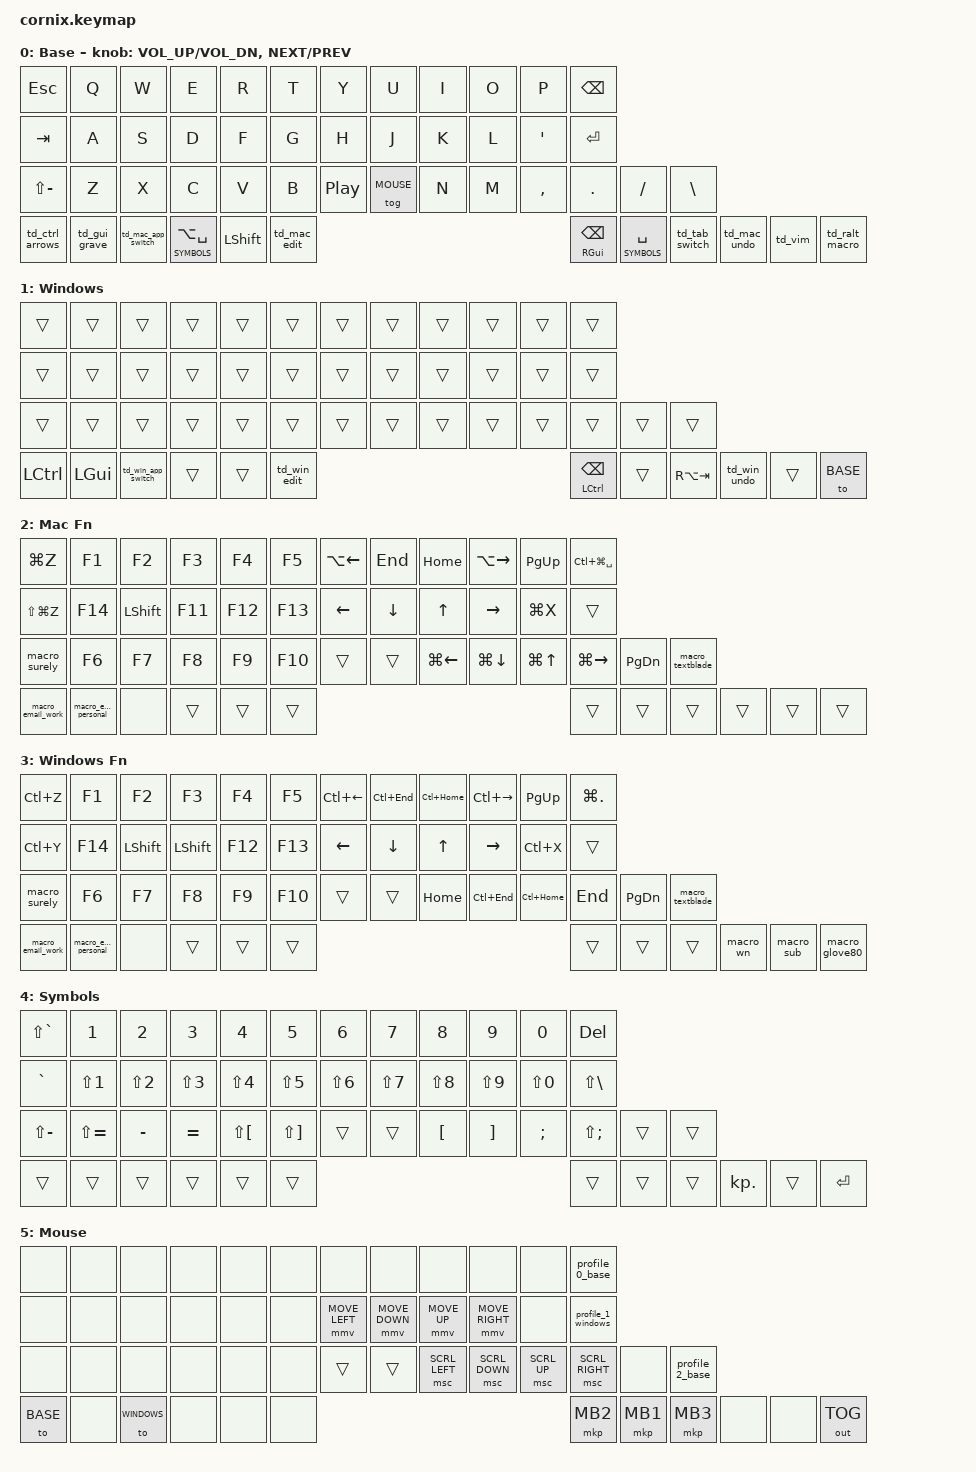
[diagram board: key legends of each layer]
/*
 * Converted from cornix20260713.vil for hitsmaxft/zmk-keyboard-cornix.
 *
 * Conversion goals:
 * - Preserve the six Vial layers that are actually reachable/useful.
 * - Preserve tap/hold/double-tap/tap-hold behaviors using native ZMK
 *   hold-tap + tap-dance composition.
 * - Preserve the Vial-derived combos using Cornix physical key positions.
 * - Preserve the two encoder functions from Vial layer 0.
 * - Preserve non-sensitive Vial macros.
 *
 * Deliberate differences:
 * - The credential-like Vial macro M7 is NOT copied into firmware.
 * - QMK KC_ACL0/KC_ACL1 have no direct ZMK keycode equivalent here;
 *   those two utility-layer positions are left as &none.
 * - Vial DF(0)/DF(1) are mapped to &to BASE / &to WINDOWS. This changes
 *   the active base mode but does not persist it across a reboot.
 * - Vial layers 6-9 are omitted because the saved keymap has no path to
 *   activate them; they only contained mostly-empty bindings/encoder data.
 */

#include <behaviors.dtsi>
#include <dt-bindings/zmk/bt.h>
#include <dt-bindings/zmk/keys.h>
#include <dt-bindings/zmk/outputs.h>
#include <dt-bindings/zmk/pointing.h>

#define BASE       0
#define WINDOWS    1
#define FN_MAC     2
#define FN_WIN     3
#define SYMBOLS    4
#define MOUSE      5

#define VIAL_TAPPING_TERM 250
#define COMBO_TERM 50
#define MOD_COMBO_PRIOR_IDLE 100

/ {
    macros {
        macro_wn: macro_wn {
            compatible = "zmk,behavior-macro";
            #binding-cells = <0>;
            bindings = <&kp COLON &kp W &kp N &kp ENTER>;
        };

        macro_hold_rgui: macro_hold_rgui {
            compatible = "zmk,behavior-macro";
            #binding-cells = <0>;
            bindings
                = <&macro_press &kp RGUI>
                , <&macro_pause_for_release>
                , <&macro_release &kp RGUI>
                ;
        };

        profile_0_base: profile_0_base {
            compatible = "zmk,behavior-macro";
            #binding-cells = <0>;
            bindings = <&out OUT_BLE>, <&bt BT_SEL 0>, <&to BASE>;
        };

        profile_1_windows: profile_1_windows {
            compatible = "zmk,behavior-macro";
            #binding-cells = <0>;
            bindings = <&out OUT_BLE>, <&bt BT_SEL 1>, <&to WINDOWS>;
        };

        profile_2_base: profile_2_base {
            compatible = "zmk,behavior-macro";
            #binding-cells = <0>;
            bindings = <&out OUT_BLE>, <&bt BT_SEL 2>, <&to BASE>;
        };

        macro_sub: macro_sub {
            compatible = "zmk,behavior-macro";
            #binding-cells = <0>;
            bindings = <&kp COLON &kp PRCNT &kp S &kp ENTER>;
        };

        macro_glove80: macro_glove80 {
            compatible = "zmk,behavior-macro";
            #binding-cells = <0>;
            bindings = <
                &kp LS(T) &kp Y &kp P &kp E &kp D &kp SPACE
                &kp O &kp N &kp SPACE &kp A &kp SPACE
                &kp LS(G) &kp L &kp O &kp V &kp E &kp N8 &kp N0
            >;
        };

        macro_textblade: macro_textblade {
            compatible = "zmk,behavior-macro";
            #binding-cells = <0>;
            bindings = <
                &kp LS(T) &kp Y &kp P &kp E &kp D &kp SPACE
                &kp O &kp N &kp SPACE &kp A &kp SPACE
                &kp LS(T) &kp E &kp X &kp T &kp LS(B) &kp L &kp A &kp D &kp E &kp EXCL
            >;
        };

        macro_surely: macro_surely {
            compatible = "zmk,behavior-macro";
            #binding-cells = <0>;
            bindings = <&kp S &kp H &kp T &kp U &kp O &kp I>;
        };

        macro_email_work: macro_email_work {
            compatible = "zmk,behavior-macro";
            #binding-cells = <0>;
            bindings = <
                &kp T &kp A &kp Y &kp L &kp O &kp R &kp AT
                &kp M &kp S &kp O &kp E &kp DOT &kp E &kp D &kp U
            >;
        };

        macro_email_personal: macro_email_personal {
            compatible = "zmk,behavior-macro";
            #binding-cells = <0>;
            bindings = <
                &kp C &kp H &kp R &kp I &kp S &kp AT
                &kp T &kp A &kp Y &kp L &kp O &kp R &kp I &kp A &kp L
                &kp DOT &kp C &kp O &kp M
            >;
        };
    };

    behaviors {
        vmt: vial_mod_tap {
            compatible = "zmk,behavior-hold-tap";
            #binding-cells = <2>;
            flavor = "hold-preferred";
            tapping-term-ms = <VIAL_TAPPING_TERM>;
            bindings = <&kp>, <&kp>;
        };

        vlt: vial_layer_tap {
            compatible = "zmk,behavior-hold-tap";
            #binding-cells = <2>;
            flavor = "hold-preferred";
            tapping-term-ms = <VIAL_TAPPING_TERM>;
            bindings = <&mo>, <&kp>;
        };

        vkp: vial_key_hold_tap {
            compatible = "zmk,behavior-hold-tap";
            #binding-cells = <2>;
            flavor = "hold-preferred";
            tapping-term-ms = <VIAL_TAPPING_TERM>;
            bindings = <&kp>, <&kp>;
        };

        edit_mt: edit_mod_tap {
            compatible = "zmk,behavior-hold-tap";
            #binding-cells = <2>;
            flavor = "hold-preferred";
            tapping-term-ms = <VIAL_TAPPING_TERM>;
            hold-while-undecided;
            hold-while-undecided-linger;
            bindings = <&kp>, <&kp>;
        };

        td_vim_single: td_vim_single {
            compatible = "zmk,behavior-hold-tap";
            #binding-cells = <2>;
            flavor = "hold-preferred";
            tapping-term-ms = <VIAL_TAPPING_TERM>;
            bindings = <&macro_hold_rgui>, <&macro_wn>;
        };

        td_ralt_second: td_ralt_second {
            compatible = "zmk,behavior-hold-tap";
            #binding-cells = <2>;
            flavor = "hold-preferred";
            tapping-term-ms = <VIAL_TAPPING_TERM>;
            bindings = <&macro_surely>, <&none>;
        };

        td_ctrl_arrows: tap_dance_ctrl_arrows {
            compatible = "zmk,behavior-tap-dance";
            #binding-cells = <0>;
            tapping-term-ms = <VIAL_TAPPING_TERM>;
            bindings = <&vmt LCTRL LC(RIGHT)>, <&kp LC(LEFT)>;
        };

        td_gui_grave: tap_dance_gui_grave {
            compatible = "zmk,behavior-tap-dance";
            #binding-cells = <0>;
            tapping-term-ms = <VIAL_TAPPING_TERM>;
            bindings = <&vmt LGUI LG(GRAVE)>, <&kp LS(LG(GRAVE))>;
        };

        td_mac_app_switch: tap_dance_mac_app_switch {
            compatible = "zmk,behavior-tap-dance";
            #binding-cells = <0>;
            tapping-term-ms = <VIAL_TAPPING_TERM>;
            /* tap=Cmd+Tab, hold=left Cmd, double-tap=Shift+Cmd+Tab */
            bindings = <&vmt LGUI LG(TAB)>, <&kp LS(LG(TAB))>;
        };

        td_win_app_switch: tap_dance_win_app_switch {
            compatible = "zmk,behavior-tap-dance";
            #binding-cells = <0>;
            tapping-term-ms = <VIAL_TAPPING_TERM>;
            /* tap=Ctrl+Tab, hold=left Ctrl, double-tap=Shift+Ctrl+Tab */
            bindings = <&vmt LCTRL LC(TAB)>, <&kp LS(LC(TAB))>;
        };

        td_mac_edit: tap_dance_mac_edit {
            compatible = "zmk,behavior-tap-dance";
            #binding-cells = <0>;
            tapping-term-ms = <VIAL_TAPPING_TERM>;
            /* tap=paste, hold=left Cmd, double-tap=copy, tap+hold=cut */
            bindings = <&edit_mt LGUI LG(V)>, <&vkp LG(X) LG(C)>;
        };

        td_win_edit: tap_dance_win_edit {
            compatible = "zmk,behavior-tap-dance";
            #binding-cells = <0>;
            tapping-term-ms = <VIAL_TAPPING_TERM>;
            /* tap=paste, hold=Ctrl, double-tap=copy, tap+hold=cut */
            bindings = <&edit_mt LCTRL LC(V)>, <&vkp LC(X) LC(C)>;
        };

        td_tab_switch: tap_dance_tab_switch {
            compatible = "zmk,behavior-tap-dance";
            #binding-cells = <0>;
            tapping-term-ms = <VIAL_TAPPING_TERM>;
            bindings = <&vlt FN_MAC LC(TAB)>, <&kp LC(LS(TAB))>;
        };

        td_mac_undo: tap_dance_mac_undo {
            compatible = "zmk,behavior-tap-dance";
            #binding-cells = <0>;
            tapping-term-ms = <VIAL_TAPPING_TERM>;
            /* tap=Cmd+Z, hold=right Cmd, double-tap=Shift+Cmd+Z */
            bindings = <&vmt RGUI LG(Z)>, <&kp LS(LG(Z))>;
        };

        td_win_undo: tap_dance_win_undo {
            compatible = "zmk,behavior-tap-dance";
            #binding-cells = <0>;
            tapping-term-ms = <VIAL_TAPPING_TERM>;
            /* tap=Ctrl+Z, hold=right Ctrl, double-tap=Shift+Ctrl+Z */
            bindings = <&vmt RCTRL LC(Z)>, <&kp LS(LC(Z))>;
        };

        td_vim: tap_dance_vim {
            compatible = "zmk,behavior-tap-dance";
            #binding-cells = <0>;
            tapping-term-ms = <VIAL_TAPPING_TERM>;
            bindings = <&td_vim_single 0 0>, <&macro_sub>;
        };

        td_ralt_macro: tap_dance_ralt_macro {
            compatible = "zmk,behavior-tap-dance";
            #binding-cells = <0>;
            tapping-term-ms = <VIAL_TAPPING_TERM>;
            /* tap=Shift+GUI+C, hold=RALT, double-tap=none, tap+hold=macro_surely */
            bindings = <&vmt RALT LS(LG(C))>, <&td_ralt_second 0 0>;
        };

    };

    combos {
        compatible = "zmk,combos";

        combo_df_fnmac {
            timeout-ms = <COMBO_TERM>;
            key-positions = <16 15>;
            layers = <BASE>;
            bindings = <&mo FN_MAC>;
        };

        combo_df_fnwin {
            timeout-ms = <COMBO_TERM>;
            key-positions = <16 15>;
            layers = <WINDOWS>;
            bindings = <&mo FN_WIN>;
        };

        combo_fg_mouse {
            timeout-ms = <COMBO_TERM>;
            key-positions = <16 17>;
            layers = <BASE WINDOWS SYMBOLS>;
            bindings = <&mo MOUSE>;
        };

        combo_jk_fnmac {
            timeout-ms = <COMBO_TERM>;
            key-positions = <19 20>;
            layers = <BASE>;
            bindings = <&mo FN_MAC>;
        };

        combo_jk_fnwin {
            timeout-ms = <COMBO_TERM>;
            key-positions = <19 20>;
            layers = <WINDOWS>;
            bindings = <&mo FN_WIN>;
        };

        combo_kl_symbols {
            timeout-ms = <COMBO_TERM>;
            key-positions = <20 21>;
            layers = <BASE WINDOWS SYMBOLS>;
            bindings = <&tog SYMBOLS>;
        };

        /* Bottom-row modifier combos: Mac behavior on Base, Windows behavior on Windows. */

        combo_cv_cmd_mac {
            timeout-ms = <COMBO_TERM>;
            require-prior-idle-ms = <MOD_COMBO_PRIOR_IDLE>;
            key-positions = <27 28>;
            layers = <BASE>;
            bindings = <&kp LGUI>;
        };

        combo_cv_ctrl_win {
            timeout-ms = <COMBO_TERM>;
            require-prior-idle-ms = <MOD_COMBO_PRIOR_IDLE>;
            key-positions = <27 28>;
            layers = <WINDOWS>;
            bindings = <&kp LCTRL>;
        };

        combo_mcomma_cmd_mac {
            timeout-ms = <COMBO_TERM>;
            require-prior-idle-ms = <MOD_COMBO_PRIOR_IDLE>;
            key-positions = <33 34>;
            layers = <BASE>;
            bindings = <&kp RGUI>;
        };

        combo_mcomma_ctrl_win {
            timeout-ms = <COMBO_TERM>;
            require-prior-idle-ms = <MOD_COMBO_PRIOR_IDLE>;
            key-positions = <33 34>;
            layers = <WINDOWS>;
            bindings = <&kp RCTRL>;
        };

        combo_xc_alt {
            timeout-ms = <COMBO_TERM>;
            require-prior-idle-ms = <MOD_COMBO_PRIOR_IDLE>;
            key-positions = <26 27>;
            layers = <BASE WINDOWS>;
            bindings = <&kp LALT>;
        };

        combo_commadot_alt {
            timeout-ms = <COMBO_TERM>;
            require-prior-idle-ms = <MOD_COMBO_PRIOR_IDLE>;
            key-positions = <34 35>;
            layers = <BASE WINDOWS>;
            bindings = <&kp RALT>;
        };

        combo_zx_ctrl_mac {
            timeout-ms = <COMBO_TERM>;
            require-prior-idle-ms = <MOD_COMBO_PRIOR_IDLE>;
            key-positions = <25 26>;
            layers = <BASE>;
            bindings = <&kp LCTRL>;
        };

        combo_zx_win_win {
            timeout-ms = <COMBO_TERM>;
            require-prior-idle-ms = <MOD_COMBO_PRIOR_IDLE>;
            key-positions = <25 26>;
            layers = <WINDOWS>;
            bindings = <&kp LGUI>;
        };

        combo_dotslash_ctrl_mac {
            timeout-ms = <COMBO_TERM>;
            require-prior-idle-ms = <MOD_COMBO_PRIOR_IDLE>;
            key-positions = <35 36>;
            layers = <BASE>;
            bindings = <&kp RCTRL>;
        };

        combo_dotslash_win_win {
            timeout-ms = <COMBO_TERM>;
            require-prior-idle-ms = <MOD_COMBO_PRIOR_IDLE>;
            key-positions = <35 36>;
            layers = <WINDOWS>;
            bindings = <&kp RGUI>;
        };

        combo_xcv_cmd_alt_mac {
            timeout-ms = <COMBO_TERM>;
            require-prior-idle-ms = <MOD_COMBO_PRIOR_IDLE>;
            key-positions = <26 27 28>;
            layers = <BASE>;
            bindings = <&kp LG(LALT)>;
        };

        combo_xcv_ctrl_alt_win {
            timeout-ms = <COMBO_TERM>;
            require-prior-idle-ms = <MOD_COMBO_PRIOR_IDLE>;
            key-positions = <26 27 28>;
            layers = <WINDOWS>;
            bindings = <&kp LC(LALT)>;
        };

        combo_mcommadot_cmd_alt_mac {
            timeout-ms = <COMBO_TERM>;
            require-prior-idle-ms = <MOD_COMBO_PRIOR_IDLE>;
            key-positions = <33 34 35>;
            layers = <BASE>;
            bindings = <&kp RG(RALT)>;
        };

        combo_mcommadot_ctrl_alt_win {
            timeout-ms = <COMBO_TERM>;
            require-prior-idle-ms = <MOD_COMBO_PRIOR_IDLE>;
            key-positions = <33 34 35>;
            layers = <WINDOWS>;
            bindings = <&kp RC(RALT)>;
        };

        combo_zv_cmd_ctrl {
            timeout-ms = <COMBO_TERM>;
            require-prior-idle-ms = <MOD_COMBO_PRIOR_IDLE>;
            key-positions = <25 28>;
            layers = <BASE WINDOWS>;
            bindings = <&kp LG(LCTRL)>;
        };

        combo_mslash_cmd_ctrl {
            timeout-ms = <COMBO_TERM>;
            require-prior-idle-ms = <MOD_COMBO_PRIOR_IDLE>;
            key-positions = <33 36>;
            layers = <BASE WINDOWS>;
            bindings = <&kp RG(RCTRL)>;
        };

        combo_zxcv_ctrl_alt_cmd {
            timeout-ms = <COMBO_TERM>;
            require-prior-idle-ms = <MOD_COMBO_PRIOR_IDLE>;
            key-positions = <25 26 27 28>;
            layers = <BASE WINDOWS>;
            bindings = <&kp LC(LA(LGUI))>;
        };

        combo_mcds_ctrl_alt_cmd {
            timeout-ms = <COMBO_TERM>;
            require-prior-idle-ms = <MOD_COMBO_PRIOR_IDLE>;
            key-positions = <33 34 35 36>;
            layers = <BASE WINDOWS>;
            bindings = <&kp RC(RA(RGUI))>;
        };

        combo_zxc_ctrl_alt_mac {
            timeout-ms = <COMBO_TERM>;
            require-prior-idle-ms = <MOD_COMBO_PRIOR_IDLE>;
            key-positions = <25 26 27>;
            layers = <BASE>;
            bindings = <&kp LA(LCTRL)>;
        };

        combo_zxc_win_alt_win {
            timeout-ms = <COMBO_TERM>;
            require-prior-idle-ms = <MOD_COMBO_PRIOR_IDLE>;
            key-positions = <25 26 27>;
            layers = <WINDOWS>;
            bindings = <&kp LG(LALT)>;
        };

        combo_cds_ctrl_alt_mac {
            timeout-ms = <COMBO_TERM>;
            require-prior-idle-ms = <MOD_COMBO_PRIOR_IDLE>;
            key-positions = <34 35 36>;
            layers = <BASE>;
            bindings = <&kp RA(RCTRL)>;
        };

        combo_cds_win_alt_win {
            timeout-ms = <COMBO_TERM>;
            require-prior-idle-ms = <MOD_COMBO_PRIOR_IDLE>;
            key-positions = <34 35 36>;
            layers = <WINDOWS>;
            bindings = <&kp RG(RALT)>;
        };
    };

    keymap {
        compatible = "zmk,keymap";

        base_layer {
            display-name = "Base";
            bindings = <
                &kp ESC  &kp Q  &kp W  &kp E  &kp R  &kp T  &kp Y  &kp U  &kp I  &kp O  &kp P  &kp BSPC
                &kp TAB  &kp A  &kp S  &kp D  &kp F  &kp G  &kp H  &kp J  &kp K  &kp L  &kp SQT  &kp ENTER
                &kp LS(MINUS)  &kp Z  &kp X  &kp C  &kp V  &kp B  &kp C_PLAY_PAUSE  &tog MOUSE  &kp N  &kp M  &kp COMMA  &kp DOT  &kp FSLH  &kp BSLH
                &td_ctrl_arrows  &td_gui_grave  &td_mac_app_switch  &vlt SYMBOLS LA(SPACE)  &kp LSHIFT  &td_mac_edit  &vmt RGUI BSPC  &vlt SYMBOLS SPACE  &td_tab_switch  &td_mac_undo  &td_vim  &td_ralt_macro
            >;
            sensor-bindings = <&inc_dec_kp C_VOL_UP C_VOL_DN &inc_dec_kp C_NEXT C_PREV>;
        };

        windows_layer {
            display-name = "Windows";
            /*
             * Windows is an overlay on Base. Only bindings that differ from
             * Base are specified here; everything else falls through.
             */
            bindings = <
                &trans  &trans  &trans  &trans  &trans  &trans  &trans  &trans  &trans  &trans  &trans  &trans
                &trans  &trans  &trans  &trans  &trans  &trans  &trans  &trans  &trans  &trans  &trans  &trans
                &trans  &trans  &trans  &trans  &trans  &trans  &trans  &trans  &trans  &trans  &trans  &trans  &trans  &trans
                &kp LCTRL  &kp LGUI  &td_win_app_switch  &trans  &trans  &td_win_edit  &vmt LCTRL BSPC  &trans  &kp RA(TAB)  &td_win_undo  &trans  &to BASE
            >;
        };

        mac_fn_layer {
            display-name = "Mac Fn";
            bindings = <
                &kp LG(Z)  &kp F1  &kp F2  &kp F3  &kp F4  &kp F5  &kp LA(LEFT)  &kp END  &kp HOME  &kp LA(RIGHT)  &kp PG_UP  &kp LC(LG(SPACE))
                &kp LS(LG(Z))  &kp F14  &kp LSHIFT  &kp F11  &kp F12  &kp F13  &kp LEFT  &kp DOWN  &kp UP  &kp RIGHT  &kp LG(X)  &trans
                &macro_surely  &kp F6  &kp F7  &kp F8  &kp F9  &kp F10  &trans  &trans  &kp LG(LEFT)  &kp LG(DOWN)  &kp LG(UP)  &kp LG(RIGHT)  &kp PG_DN  &macro_textblade
                &macro_email_work  &macro_email_personal  &none  &trans  &trans  &trans  &trans  &trans  &trans  &trans  &trans  &trans
            >;
        };

        windows_fn_layer {
            display-name = "Windows Fn";
            bindings = <
                &kp LC(Z)  &kp F1  &kp F2  &kp F3  &kp F4  &kp F5  &kp LC(LEFT)  &kp LC(END)  &kp LC(HOME)  &kp LC(RIGHT)  &kp PG_UP  &kp LG(DOT)
                &kp LC(Y)  &kp F14  &kp LSHIFT  &kp LSHIFT  &kp F12  &kp F13  &kp LEFT  &kp DOWN  &kp UP  &kp RIGHT  &kp LC(X)  &trans
                &macro_surely  &kp F6  &kp F7  &kp F8  &kp F9  &kp F10  &trans  &trans  &kp HOME  &kp LC(END)  &kp LC(HOME)  &kp END  &kp PG_DN  &macro_textblade
                &macro_email_work  &macro_email_personal  &none  &trans  &trans  &trans  &trans  &trans  &trans  &macro_wn  &macro_sub  &macro_glove80
            >;
        };

        symbols_layer {
            display-name = "Symbols";
            bindings = <
                &kp LS(GRAVE)  &kp N1  &kp N2  &kp N3  &kp N4  &kp N5  &kp N6  &kp N7  &kp N8  &kp N9  &kp N0  &kp DELETE
                &kp GRAVE  &kp LS(N1)  &kp LS(N2)  &kp LS(N3)  &kp LS(N4)  &kp LS(N5)  &kp LS(N6)  &kp LS(N7)  &kp LS(N8)  &kp LS(N9)  &kp LS(N0)  &kp LS(BSLH)
                &kp LS(MINUS)  &kp LS(EQUAL)  &kp MINUS  &kp EQUAL  &kp LS(LBKT)  &kp LS(RBKT)  &trans  &trans  &kp LBKT  &kp RBKT  &kp SEMI  &kp LS(SEMI)  &trans  &trans
                &trans  &trans  &trans  &trans  &trans  &trans  &trans  &trans  &trans  &kp KP_DOT  &trans  &kp ENTER
            >;
        };

        mouse_layer {
            display-name = "Mouse";
            bindings = <
                &none  &none  &none  &none  &none  &none  &none  &none  &none  &none  &none  &profile_0_base
                &none  &none  &none  &none  &none  &none  &mmv MOVE_LEFT  &mmv MOVE_DOWN  &mmv MOVE_UP  &mmv MOVE_RIGHT  &none  &profile_1_windows
                &none  &none  &none  &none  &none  &none  &trans  &trans  &msc SCRL_LEFT  &msc SCRL_DOWN  &msc SCRL_UP  &msc SCRL_RIGHT  &none  &profile_2_base
                &to BASE  &none  &to WINDOWS  &none  &none  &none  &mkp MB2  &mkp MB1  &mkp MB3  &none  &none  &out OUT_TOG
            >;
        };
    };
};
